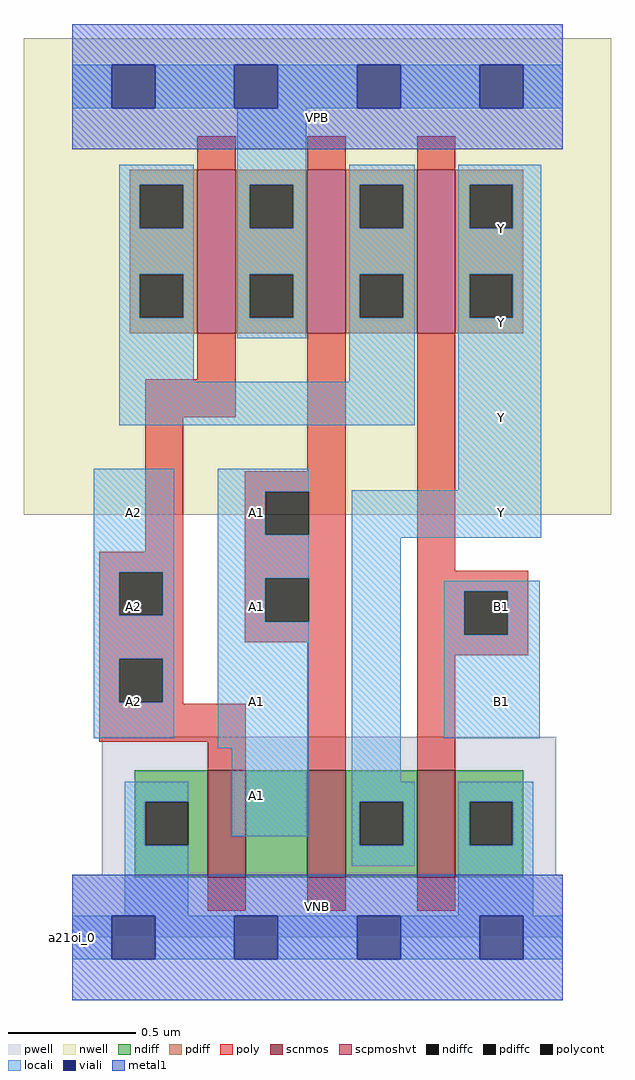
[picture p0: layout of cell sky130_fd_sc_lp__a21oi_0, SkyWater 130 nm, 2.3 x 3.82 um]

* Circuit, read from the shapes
.subckt sky130_fd_sc_lp__a21oi_0 A1 A2 B1 VGND VNB VPB VPWR Y
XM1 n1 A2 VGND VNB sky130_fd_pr__nfet_01v8 w=0.42 l=0.15
XM2 Y A1 n1 VNB sky130_fd_pr__nfet_01v8 w=0.42 l=0.15
XM3 VGND B1 Y VNB sky130_fd_pr__nfet_01v8 w=0.42 l=0.15
XM4 VPWR A2 n2 VPB sky130_fd_pr__pfet_01v8_hvt w=0.64 l=0.15
XM5 n2 A1 VPWR VPB sky130_fd_pr__pfet_01v8_hvt w=0.64 l=0.15
XM6 Y B1 n2 VPB sky130_fd_pr__pfet_01v8_hvt w=0.64 l=0.15
.ends

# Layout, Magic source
magic
tech sky130A
magscale 1 2
<< nwell >>
rect -38 331 422 704
<< pwell >>
rect 23 49 379 157
rect 0 0 384 49
<< scnmos >>
rect 106 47 136 131
rect 184 47 214 131
rect 270 47 300 131
<< scpmoshvt >>
rect 98 473 128 601
rect 184 473 214 601
rect 270 473 300 601
<< ndiff >>
rect 49 106 106 131
rect 49 72 57 106
rect 91 72 106 106
rect 49 47 106 72
rect 136 47 184 131
rect 214 106 270 131
rect 214 72 225 106
rect 259 72 270 106
rect 214 47 270 72
rect 300 106 353 131
rect 300 72 311 106
rect 345 72 353 106
rect 300 47 353 72
<< pdiff >>
rect 45 589 98 601
rect 45 555 53 589
rect 87 555 98 589
rect 45 519 98 555
rect 45 485 53 519
rect 87 485 98 519
rect 45 473 98 485
rect 128 589 184 601
rect 128 555 139 589
rect 173 555 184 589
rect 128 519 184 555
rect 128 485 139 519
rect 173 485 184 519
rect 128 473 184 485
rect 214 589 270 601
rect 214 555 225 589
rect 259 555 270 589
rect 214 519 270 555
rect 214 485 225 519
rect 259 485 270 519
rect 214 473 270 485
rect 300 589 353 601
rect 300 555 311 589
rect 345 555 353 589
rect 300 519 353 555
rect 300 485 311 519
rect 345 485 353 519
rect 300 473 353 485
<< ndiffc >>
rect 57 72 91 106
rect 225 72 259 106
rect 311 72 345 106
<< pdiffc >>
rect 53 555 87 589
rect 53 485 87 519
rect 139 555 173 589
rect 139 485 173 519
rect 225 555 259 589
rect 225 485 259 519
rect 311 555 345 589
rect 311 485 345 519
<< poly >>
rect 98 601 128 627
rect 184 601 214 627
rect 270 601 300 627
rect 98 437 128 473
rect 57 407 128 437
rect 57 302 87 407
rect 184 365 214 473
rect 21 286 87 302
rect 21 252 37 286
rect 71 252 87 286
rect 21 218 87 252
rect 135 349 214 365
rect 135 315 151 349
rect 185 315 214 349
rect 135 281 214 315
rect 135 247 151 281
rect 185 247 214 281
rect 135 231 214 247
rect 21 184 37 218
rect 71 184 87 218
rect 21 183 87 184
rect 21 153 136 183
rect 106 131 136 153
rect 184 131 214 231
rect 270 287 300 473
rect 270 271 357 287
rect 270 237 307 271
rect 341 237 357 271
rect 270 221 357 237
rect 270 131 300 221
rect 106 21 136 47
rect 184 21 214 47
rect 270 21 300 47
<< polycont >>
rect 37 252 71 286
rect 151 315 185 349
rect 151 247 185 281
rect 37 184 71 218
rect 307 237 341 271
<< locali >>
rect 0 649 31 683
rect 65 649 127 683
rect 161 649 223 683
rect 257 649 319 683
rect 353 649 384 683
rect 37 589 95 605
rect 37 555 53 589
rect 87 555 95 589
rect 37 519 95 555
rect 37 485 53 519
rect 87 485 95 519
rect 37 435 95 485
rect 129 589 183 649
rect 129 555 139 589
rect 173 555 183 589
rect 129 519 183 555
rect 129 485 139 519
rect 173 485 183 519
rect 129 469 183 485
rect 217 589 268 605
rect 217 555 225 589
rect 259 555 268 589
rect 217 519 268 555
rect 217 485 225 519
rect 259 485 268 519
rect 217 435 268 485
rect 37 401 268 435
rect 302 589 367 605
rect 302 555 311 589
rect 345 555 367 589
rect 302 519 367 555
rect 302 485 311 519
rect 345 485 367 519
rect 17 286 80 367
rect 17 252 37 286
rect 71 252 80 286
rect 17 218 80 252
rect 17 184 37 218
rect 71 184 80 218
rect 17 156 80 184
rect 114 349 185 367
rect 302 350 367 485
rect 114 315 151 349
rect 114 281 185 315
rect 114 247 151 281
rect 114 148 185 247
rect 41 106 91 122
rect 41 72 57 106
rect 125 79 185 148
rect 219 313 367 350
rect 219 122 257 313
rect 291 271 366 279
rect 291 237 307 271
rect 341 237 366 271
rect 291 156 366 237
rect 219 106 268 122
rect 41 17 91 72
rect 219 72 225 106
rect 259 72 268 106
rect 219 56 268 72
rect 302 106 361 122
rect 302 72 311 106
rect 345 72 361 106
rect 302 17 361 72
rect 0 -17 31 17
rect 65 -17 127 17
rect 161 -17 223 17
rect 257 -17 319 17
rect 353 -17 384 17
<< viali >>
rect 31 649 65 683
rect 127 649 161 683
rect 223 649 257 683
rect 319 649 353 683
rect 31 -17 65 17
rect 127 -17 161 17
rect 223 -17 257 17
rect 319 -17 353 17
<< metal1 >>
rect 0 683 384 715
rect 0 649 31 683
rect 65 649 127 683
rect 161 649 223 683
rect 257 649 319 683
rect 353 649 384 683
rect 0 617 384 649
rect 0 17 384 49
rect 0 -17 31 17
rect 65 -17 127 17
rect 161 -17 223 17
rect 257 -17 319 17
rect 353 -17 384 17
rect 0 -49 384 -17
<< labels >>
flabel pwell s 0 0 384 49 0 FreeSans 200 0 0 0 VNB
port 5 nsew ground bidirectional
flabel nwell s 0 617 384 666 0 FreeSans 200 0 0 0 VPB
port 6 nsew power bidirectional
rlabel comment s 0 0 0 0 4 a21oi_0
flabel metal1 s 0 617 384 666 0 FreeSans 340 0 0 0 VPWR
port 7 nsew power bidirectional
flabel metal1 s 0 0 384 49 0 FreeSans 340 0 0 0 VGND
port 4 nsew ground bidirectional
flabel locali s 127 94 161 128 0 FreeSans 340 0 0 0 A1
port 1 nsew signal input
flabel locali s 127 168 161 202 0 FreeSans 340 0 0 0 A1
port 1 nsew signal input
flabel locali s 127 242 161 276 0 FreeSans 340 0 0 0 A1
port 1 nsew signal input
flabel locali s 127 316 161 350 0 FreeSans 340 0 0 0 A1
port 1 nsew signal input
flabel locali s 31 168 65 202 0 FreeSans 340 0 0 0 A2
port 2 nsew signal input
flabel locali s 31 242 65 276 0 FreeSans 340 0 0 0 A2
port 2 nsew signal input
flabel locali s 31 316 65 350 0 FreeSans 340 0 0 0 A2
port 2 nsew signal input
flabel locali s 319 168 353 202 0 FreeSans 340 0 0 0 B1
port 3 nsew signal input
flabel locali s 319 242 353 276 0 FreeSans 340 0 0 0 B1
port 3 nsew signal input
flabel locali s 319 316 353 350 0 FreeSans 340 0 0 0 Y
port 8 nsew signal output
flabel locali s 319 390 353 424 0 FreeSans 340 0 0 0 Y
port 8 nsew signal output
flabel locali s 319 464 353 498 0 FreeSans 340 0 0 0 Y
port 8 nsew signal output
flabel locali s 319 538 353 572 0 FreeSans 340 0 0 0 Y
port 8 nsew signal output
<< properties >>
string LEFsite unit
string LEFclass CORE
string FIXED_BBOX 0 0 384 666
string GDS_FILE $PDKPATH/libs.ref/sky130_fd_sc_lp/gds/sky130_fd_sc_lp.gds
string LEFsymmetry X Y R90
string GDS_END 3689168
string GDS_START 3683644
<< end >>
